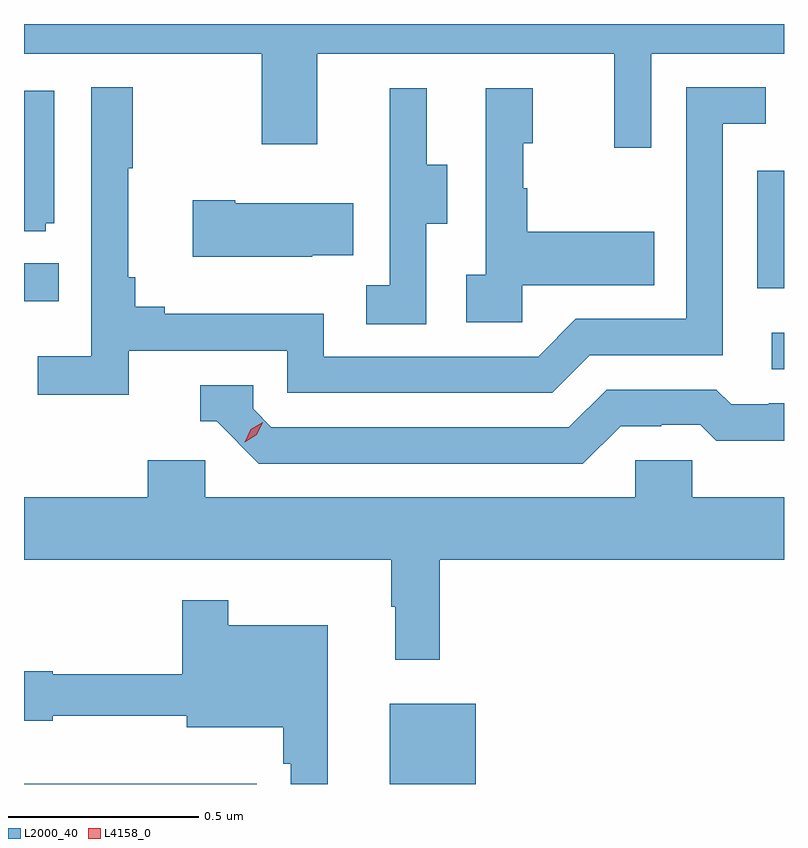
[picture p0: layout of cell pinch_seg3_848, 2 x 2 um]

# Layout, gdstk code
import gdstk
lib = gdstk.Library(unit=1e-6, precision=1e-09)
def R(c, l, rs):  # rectangles x0, y0, x1, y1
    for r in rs: c.add(gdstk.rectangle(r[:2], r[2:], *l))
def P(c, l, *ps):  # polygons
    for p in ps: c.add(gdstk.Polygon(p, *l))
L2000_40 = (2000, 40)
L4158_0 = (4158, 0)

pinch_seg3_848 = lib.new_cell('pinch_seg3_848')
R(pinch_seg3_848, L2000_40, [(851.625,716.31,852.238,716.311), (852.587,716.31,852.814,716.521), (853.593,717.402,853.625,717.498), (851.625,717.581,851.717,717.68), (853.554,717.615,853.625,717.924)])
P(pinch_seg3_848, L2000_40, [(853.275,718.232),(853.625,718.232),(853.625,718.31),(851.625,718.31),(851.625,718.232),(852.25,718.232),(852.25,717.993),(852.397,717.993),(852.397,718.232),(853.178,718.232),(853.178,717.984),(853.275,717.984)],
  [(851.9,717.45),(852.318,717.45),(852.318,717.339),(853.015,717.339),(853.114,717.438),(853.464,717.438),(853.464,718.047),(853.577,718.047),(853.577,718.143),(853.368,718.143),(853.368,717.534),(853.077,717.534),(852.978,717.435),(852.414,717.435),(852.414,717.547),(851.995,717.547),(851.995,717.566),(851.918,717.566),(851.918,717.643),(851.899,717.643),(851.899,717.931),(851.911,717.931),(851.911,718.144),(851.802,718.144),(851.802,717.436),(851.661,717.436),(851.661,717.334),(851.9,717.334)],
  [(852.936,717.623),(853.283,717.623),(853.283,717.763),(852.949,717.763),(852.949,717.878),(852.939,717.878),(852.939,717.996),(852.964,717.996),(852.964,718.141),(852.84,718.141),(852.84,717.65),(852.789,717.65),(852.789,717.525),(852.936,717.525)],
  [(852.684,717.784),(852.739,717.784),(852.739,717.939),(852.685,717.939),(852.685,718.141),(852.587,718.141),(852.587,717.927),(852.588,717.927),(852.588,717.623),(852.525,717.623),(852.525,717.52),(852.684,717.52)],
  [(851.682,717.786),(851.704,717.786),(851.704,718.135),(851.625,718.135),(851.625,717.765),(851.682,717.765)],
  [(852.383,717.701),(852.491,717.701),(852.491,717.838),(852.181,717.838),(852.181,717.846),(852.069,717.846),(852.069,717.698),(852.383,717.698)],
  [(853.195,717.252),(853.302,717.252),(853.302,717.255),(853.405,717.255),(853.447,717.213),(853.625,717.213),(853.625,717.312),(853.585,717.312),(853.585,717.309),(853.486,717.309),(853.447,717.348),(853.158,717.348),(853.059,717.249),(852.276,717.249),(852.228,717.297),(852.228,717.36),(852.089,717.36),(852.089,717.264),(852.132,717.264),(852.243,717.153),(853.096,717.153)],
  [(852.719,716.9),(853.625,716.9),(853.625,717.064),(853.383,717.064),(853.383,717.162),(853.233,717.162),(853.233,717.064),(852.102,717.064),(852.102,717.162),(851.951,717.162),(851.951,717.064),(851.625,717.064),(851.625,716.9),(852.591,716.9),(852.591,716.777),(852.602,716.777),(852.602,716.637),(852.719,716.637)],
  [(852.424,716.728),(852.163,716.728),(852.163,716.794),(852.042,716.794),(852.042,716.599),(851.7,716.599),(851.7,716.607),(851.625,716.607),(851.625,716.477),(851.7,716.477),(851.7,716.489),(852.053,716.489),(852.053,716.459),(852.307,716.459),(852.307,716.363),(852.327,716.363),(852.327,716.31),(852.424,716.31)])
P(pinch_seg3_848, L4158_0, [(852.206,717.21),(852.206,717.21),(852.222,717.243),(852.253,717.262),(852.253,717.262),(852.253,717.262),(852.237,717.229),(852.206,717.21)])

lib.write_gds('pinch_seg3_848.gds')
